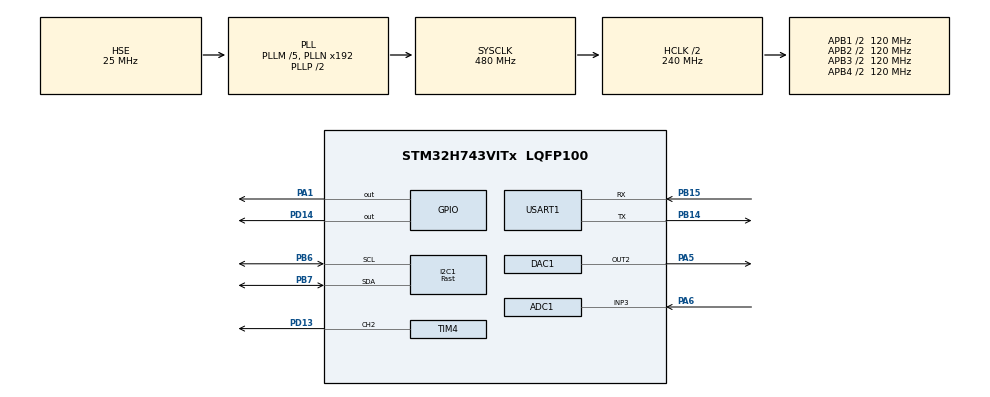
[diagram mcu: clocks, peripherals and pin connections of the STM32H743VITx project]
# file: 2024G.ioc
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ADC1.Channel-0\#ChannelRegularConversion=ADC_CHANNEL_3
ADC1.ConversionDataManagement=ADC_CONVERSIONDATA_DMA_CIRCULAR
ADC1.ExternalTrigConv=ADC_EXTERNALTRIG_T15_TRGO
ADC1.NbrOfConversion=1
ADC1.NbrOfConversionFlag=1
ADC1.OffsetNumber-0\#ChannelRegularConversion=ADC_OFFSET_NONE
ADC1.OffsetSignedSaturation-0\#ChannelRegularConversion=DISABLE
ADC1.Rank-0\#ChannelRegularConversion=1
ADC1.SamplingTime-0\#ChannelRegularConversion=ADC_SAMPLETIME_8CYCLES_5
ADC1.master=1
CORTEX_M7.AccessPermission-Cortex_Memory_Protection_Unit_Region0_Settings=MPU_REGION_FULL_ACCESS
CORTEX_M7.AccessPermission-Cortex_Memory_Protection_Unit_Region1_Settings=MPU_REGION_FULL_ACCESS
CORTEX_M7.AccessPermission-Cortex_Memory_Protection_Unit_Region2_Settings=MPU_REGION_FULL_ACCESS
CORTEX_M7.AccessPermission-Cortex_Memory_Protection_Unit_Region3_Settings=MPU_REGION_FULL_ACCESS
CORTEX_M7.AccessPermission-Cortex_Memory_Protection_Unit_Region4_Settings=MPU_REGION_FULL_ACCESS
CORTEX_M7.AccessPermission_S-Cortex_Memory_Protection_Unit_Region1_Settings_S=MPU_REGION_FULL_ACCESS
CORTEX_M7.AccessPermission_S-Cortex_Memory_Protection_Unit_Region2_Settings_S=MPU_REGION_FULL_ACCESS
CORTEX_M7.AccessPermission_Spec=MPU_REGION_FULL_ACCESS
CORTEX_M7.BaseAddress-Cortex_Memory_Protection_Unit_Region0_Settings=0x24000000
CORTEX_M7.BaseAddress-Cortex_Memory_Protection_Unit_Region1_Settings=0x30000000
CORTEX_M7.BaseAddress-Cortex_Memory_Protection_Unit_Region2_Settings=0x30020000
CORTEX_M7.BaseAddress-Cortex_Memory_Protection_Unit_Region3_Settings=0x30040000
CORTEX_M7.BaseAddress-Cortex_Memory_Protection_Unit_Region4_Settings=0x38000000
CORTEX_M7.BaseAddress_S-Cortex_Memory_Protection_Unit_Region1_Settings_S=0x30000000
CORTEX_M7.BaseAddress_S-Cortex_Memory_Protection_Unit_Region2_Settings_S=0x30020000
CORTEX_M7.BaseAddress_Spec=0x24000000
CORTEX_M7.CPU_DCache=Enabled
CORTEX_M7.CPU_ICache=Enabled
CORTEX_M7.DisableExec_S-Cortex_Memory_Protection_Unit_Region1_Settings_S=MPU_INSTRUCTION_ACCESS_ENABLE
CORTEX_M7.DisableExec_S-Cortex_Memory_Protection_Unit_Region2_Settings_S=MPU_INSTRUCTION_ACCESS_ENABLE
CORTEX_M7.DisableExec_Spec=MPU_INSTRUCTION_ACCESS_ENABLE
CORTEX_M7.Enable-Cortex_Memory_Protection_Unit_Region0_Settings=MPU_REGION_ENABLE
CORTEX_M7.Enable-Cortex_Memory_Protection_Unit_Region1_Settings=MPU_REGION_ENABLE
CORTEX_M7.Enable-Cortex_Memory_Protection_Unit_Region2_Settings=MPU_REGION_ENABLE
CORTEX_M7.Enable-Cortex_Memory_Protection_Unit_Region3_Settings=MPU_REGION_ENABLE
CORTEX_M7.Enable-Cortex_Memory_Protection_Unit_Region4_Settings=MPU_REGION_ENABLE
CORTEX_M7.Enable_S-Cortex_Memory_Protection_Unit_Region1_Settings_S=MPU_REGION_ENABLE
CORTEX_M7.Enable_S-Cortex_Memory_Protection_Unit_Region2_Settings_S=MPU_REGION_ENABLE
CORTEX_M7.IsBufferable-Cortex_Memory_Protection_Unit_Region0_Settings=MPU_ACCESS_BUFFERABLE
CORTEX_M7.IsBufferable_S-Cortex_Memory_Protection_Unit_Region1_Settings_S=MPU_ACCESS_NOT_BUFFERABLE
CORTEX_M7.IsBufferable_Spec=MPU_ACCESS_BUFFERABLE
CORTEX_M7.IsCacheable-Cortex_Memory_Protection_Unit_Region0_Settings=MPU_ACCESS_CACHEABLE
CORTEX_M7.IsCacheable_S-Cortex_Memory_Protection_Unit_Region1_Settings_S=MPU_ACCESS_NOT_CACHEABLE
CORTEX_M7.IsCacheable_Spec=MPU_ACCESS_CACHEABLE
CORTEX_M7.IsShareable_Spec=MPU_ACCESS_NOT_SHAREABLE
CORTEX_M7.MPU_Control=MPU_PRIVILEGED_DEFAULT
CORTEX_M7.Size-Cortex_Memory_Protection_Unit_Region0_Settings=MPU_REGION_SIZE_512KB
CORTEX_M7.Size-Cortex_Memory_Protection_Unit_Region1_Settings=MPU_REGION_SIZE_128KB
CORTEX_M7.Size-Cortex_Memory_Protection_Unit_Region2_Settings=MPU_REGION_SIZE_128KB
CORTEX_M7.Size-Cortex_Memory_Protection_Unit_Region3_Settings=MPU_REGION_SIZE_32KB
CORTEX_M7.Size-Cortex_Memory_Protection_Unit_Region4_Settings=MPU_REGION_SIZE_64KB
CORTEX_M7.Size_S-Cortex_Memory_Protection_Unit_Region1_Settings_S=MPU_REGION_SIZE_128KB
CORTEX_M7.Size_S-Cortex_Memory_Protection_Unit_Region2_Settings_S=MPU_REGION_SIZE_128KB
CORTEX_M7.Size_Spec=MPU_REGION_SIZE_512KB
CORTEX_M7.SubRegionDisable_Spec=0x0
CORTEX_M7.TypeExtField-Cortex_Memory_Protection_Unit_Region0_Settings=MPU_TEX_LEVEL1
CORTEX_M7.TypeExtField-Cortex_Memory_Protection_Unit_Region1_Settings=MPU_TEX_LEVEL1
CORTEX_M7.TypeExtField-Cortex_Memory_Protection_Unit_Region2_Settings=MPU_TEX_LEVEL1
CORTEX_M7.TypeExtField-Cortex_Memory_Protection_Unit_Region3_Settings=MPU_TEX_LEVEL1
CORTEX_M7.TypeExtField-Cortex_Memory_Protection_Unit_Region4_Settings=MPU_TEX_LEVEL1
CORTEX_M7.TypeExtField_S-Cortex_Memory_Protection_Unit_Region1_Settings_S=MPU_TEX_LEVEL1
CORTEX_M7.TypeExtField_S-Cortex_Memory_Protection_Unit_Region2_Settings_S=MPU_TEX_LEVEL1
CORTEX_M7.TypeExtField_Spec=MPU_TEX_LEVEL1
DAC1.DAC2_OutputBuffer-DAC_OUT2=DAC_OUTPUTBUFFER_DISABLE
DAC1.DAC_Channel-DAC_OUT2=DAC_CHANNEL_2
DAC1.DAC_Trigger-DAC_OUT2=DAC_TRIGGER_SOFTWARE
Dma.ADC1.1.Direction=DMA_PERIPH_TO_MEMORY
Dma.ADC1.1.EventEnable=DISABLE
Dma.ADC1.1.FIFOMode=DMA_FIFOMODE_DISABLE
Dma.ADC1.1.Instance=DMA1_Stream0
Dma.ADC1.1.MemDataAlignment=DMA_MDATAALIGN_HALFWORD
Dma.ADC1.1.MemInc=DMA_MINC_ENABLE
Dma.ADC1.1.Mode=DMA_NORMAL
Dma.ADC1.1.PeriphDataAlignment=DMA_PDATAALIGN_HALFWORD
Dma.ADC1.1.PeriphInc=DMA_PINC_DISABLE
Dma.ADC1.1.Polarity=HAL_DMAMUX_REQ_GEN_RISING
Dma.ADC1.1.Priority=DMA_PRIORITY_HIGH
Dma.ADC1.1.RequestNumber=1
Dma.ADC1.1.SignalID=NONE
Dma.ADC1.1.SyncEnable=DISABLE
Dma.ADC1.1.SyncPolarity=HAL_DMAMUX_SYNC_NO_EVENT
Dma.ADC1.1.SyncRequestNumber=1
Dma.ADC1.1.SyncSignalID=NONE
Dma.DAC1_CH2.0.Direction=DMA_MEMORY_TO_PERIPH
Dma.DAC1_CH2.0.EventEnable=DISABLE
Dma.DAC1_CH2.0.FIFOMode=DMA_FIFOMODE_DISABLE
Dma.DAC1_CH2.0.Instance=DMA1_Stream1
Dma.DAC1_CH2.0.MemDataAlignment=DMA_MDATAALIGN_HALFWORD
Dma.DAC1_CH2.0.MemInc=DMA_MINC_ENABLE
Dma.DAC1_CH2.0.Mode=DMA_CIRCULAR
Dma.DAC1_CH2.0.PeriphDataAlignment=DMA_PDATAALIGN_HALFWORD
Dma.DAC1_CH2.0.PeriphInc=DMA_PINC_DISABLE
Dma.DAC1_CH2.0.Polarity=HAL_DMAMUX_REQ_GEN_RISING
Dma.DAC1_CH2.0.Priority=DMA_PRIORITY_LOW
Dma.DAC1_CH2.0.RequestNumber=1
Dma.DAC1_CH2.0.SignalID=NONE
Dma.DAC1_CH2.0.SyncEnable=DISABLE
Dma.DAC1_CH2.0.SyncPolarity=HAL_DMAMUX_SYNC_NO_EVENT
Dma.DAC1_CH2.0.SyncRequestNumber=1
Dma.DAC1_CH2.0.SyncSignalID=NONE
Dma.Request0=DAC1_CH2
Dma.Request1=ADC1
I2C1.I2C_Speed_Mode=I2C_Fast
I2C1.Timing=0x00B03FDB
Mcu.Family=STM32H7
Mcu.Name=STM32H743VITx
Mcu.Package=LQFP100
NVIC.DMA1_Stream0_IRQn=true\:1\:0\:true\:false\:true\:false\:true\:true
NVIC.DMA1_Stream1_IRQn=true\:1\:0\:true\:false\:true\:false\:true\:true
NVIC.PriorityGroup=NVIC_PRIORITYGROUP_4
NVIC.TIM5_IRQn=true\:1\:0\:true\:false\:true\:true\:true\:true
NVIC.USART1_IRQn=true\:2\:0\:true\:false\:true\:true\:true\:true
PA1.Signal=GPIO_Output
PA13\ (JTMS/SWDIO).Mode=Serial_Wire
PA13\ (JTMS/SWDIO).Signal=DEBUG_JTMS-SWDIO
PA14\ (JTCK/SWCLK).Mode=Serial_Wire
PA14\ (JTCK/SWCLK).Signal=DEBUG_JTCK-SWCLK
PA5.Signal=COMP_DAC12_group
PA6.Signal=ADCx_INP3
PB14.Mode=Asynchronous
PB14.Signal=USART1_TX
PB15.Mode=Asynchronous
PB15.Signal=USART1_RX
PB6.Mode=I2C
PB6.Signal=I2C1_SCL
PB7.Mode=I2C
PB7.Signal=I2C1_SDA
PD13.Signal=S_TIM4_CH2
PD14.Signal=GPIO_Output
PH0-OSC_IN\ (PH0).Mode=HSE-External-Oscillator
PH0-OSC_IN\ (PH0).Signal=RCC_OSC_IN
PH1-OSC_OUT\ (PH1).Mode=HSE-External-Oscillator
PH1-OSC_OUT\ (PH1).Signal=RCC_OSC_OUT
ProjectManager.HeapSize=0x3000
ProjectManager.StackSize=0x1000
ProjectManager.TargetToolchain=STM32CubeIDE
RCC.ADCFreq_Value=100000000
RCC.APB1Freq_Value=120000000
RCC.APB2Freq_Value=120000000
RCC.APB3Freq_Value=120000000
RCC.APB4Freq_Value=120000000
RCC.CortexFreq_Value=480000000
RCC.D1PPRE=RCC_APB3_DIV2
RCC.D2PPRE1=RCC_APB1_DIV2
RCC.D2PPRE2=RCC_APB2_DIV2
RCC.D3PPRE=RCC_APB4_DIV2
RCC.DIVM1=5
RCC.DIVM2=25
RCC.DIVN1=192
RCC.DIVN2=200
RCC.HCLKFreq_Value=240000000
RCC.HPRE=RCC_HCLK_DIV2
RCC.HSE_Timout=5000
RCC.PLLSourceVirtual=RCC_PLLSOURCE_HSE
RCC.ProductRev=revV
RCC.SYSCLKFreq_VALUE=480000000
RCC.SYSCLKSource=RCC_SYSCLKSOURCE_PLLCLK
RCC.USBFreq_Value=480000000
SH.ADCx_INP3.0=ADC1_INP3,IN3-Single-Ended
SH.COMP_DAC12_group.0=DAC1_OUT2,DAC_OUT2
SH.S_TIM4_CH2.0=TIM4_CH2,PWM Generation2 CH2
TIM15.AutoReloadPreload=TIM_AUTORELOAD_PRELOAD_ENABLE
TIM15.ClockDivision=TIM_CLOCKDIVISION_DIV1
TIM15.Period=200-1
TIM15.Prescaler=50-1
TIM15.TIM_MasterOutputTrigger=TIM_TRGO_UPDATE
TIM4.AutoReloadPreload=TIM_AUTORELOAD_PRELOAD_ENABLE
TIM4.Channel-PWM\ Generation2\ CH2=TIM_CHANNEL_2
TIM4.Period=10000-1
TIM4.Prescaler=240-1
TIM5.Period=5000-1
TIM5.Prescaler=240-1
TIM7.Prescaler=239
USART1.VirtualMode-Asynchronous=VM_ASYNC
VP_TIM15_VS_ClockSourceINT.Mode=Internal
VP_TIM5_VS_ClockSourceINT.Mode=Internal
VP_TIM7_VS_ClockSourceINT.Mode=Enable_Timer
board=custom

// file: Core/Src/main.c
/* USER CODE BEGIN Header */
/**
  ******************************************************************************
  * @file           : main.c
  * @brief          : Main program body
  ******************************************************************************
  * @attention
  *
  * Copyright (c) 2024 STMicroelectronics.
  * All rights reserved.
  *
  * This software is licensed under terms that can be found in the LICENSE file
  * in the root directory of this software component.
  * If no LICENSE file comes with this software, it is provided AS-IS.
  *
  ******************************************************************************
  */
/* USER CODE END Header */
#include "main.h"
#include "adc.h"
#include "dac.h"
#include "dma.h"
#include "i2c.h"
#include "tim.h"
#include "usart.h"
#include "gpio.h"

/* USER CODE BEGIN Includes */
#include <stdio.h>
#include <stdlib.h>
#include <complex.h>
#include <string.h>
#include "signal.h"
#include "oled.h"
#include "FO.h"
#include <string.h>
#include <math.h>
#include "SSM.h"

/* USER CODE END Includes */

/* USER CODE BEGIN PTD */

ALIGN_32BYTES (uint16_t adc1_data[FO_LENGTH_HIGH]) 	__attribute__((section(".ARM.__at_0x30000000")));
ALIGN_32BYTES (uint16_t adc1_music_data[FO_LENGTH_MIDDLE]) 	__attribute__((section(".ARM.__at_0x30080000")));

__IO uint8_t AdcConvEnd = 0;

int max_index[2] = {0 ,0}  ,min_index[3] = {0,0 , 0};
double max[5] = {-1,-1 ,-1 ,-1 ,-1 };
char str_2[50];
double * X ;
double *Y;
double P[FO_LENGTH_HIGH*4 +100];
double *p;
double voltage;
double v[FO_LENGTH_HIGH + 100];
double SP[FO_LENGTH_HIGH*8 + 100];
int i = 0;
int flag = 0;
int count =0 ;
int music = 0;
int state = 0 ;
double Spec[60] ;
int hold_on  =0;
double rate = 0;
double aaa;

char c = '9';

int hold_music = 0;
int hold_voice = 0;
int hold_weak = 0;
int human_killed = 0;
int music_killed = 0;
int f = 0;
int kill_human = 0;
int kill_music = 0;

uint8_t CNT=0;

void PWM_Output(int frequency , double r)
{
	rate = r;
	HAL_TIM_PWM_Start(&htim4,TIM_CHANNEL_2);
	//WRITE_REG(TIM4->CCR1,(TIM4->ARR+1)*rate);
	__HAL_TIM_SetCompare(&htim4,TIM_CHANNEL_2,(TIM4->ARR+1)*rate);
	TIM4->ARR=1000000/frequency-1;
	TIM4->CR1 &= ~TIM_CR1_ARPE;
}

void adc_init(void)
{
//	HAL_UART_Transmit(&huart1,(uint8_t *)"start_adc\n",sizeof("start_adc\n"),HAL_MAX_DELAY);
	MX_ADC1_Init();
	HAL_Delay(1);
	if (HAL_ADCEx_Calibration_Start(&hadc1, ADC_CALIB_OFFSET, ADC_SINGLE_ENDED) != HAL_OK)
	{
		HAL_UART_Transmit(&huart1,(uint8_t *)"hadc1 error with HAL_ADCEx_Calibration_Start\r\n",
				sizeof("hadc1 error with HAL_ADCEx_Calibration_Start\r\n"),HAL_MAX_DELAY);
			Error_Handler();
	}

	if (HAL_ADC_Start_DMA(&hadc1, (uint32_t *)adc1_data, FO_LENGTH_HIGH) != HAL_OK)
	{
		HAL_UART_Transmit(&huart1,(uint8_t *)"hadc1 error with HAL_ADC_Start_DMA\r\n",
				sizeof("hadc1 error with HAL_ADC_Start_DMA\r\n"),HAL_MAX_DELAY);
			Error_Handler();
	}

	HAL_TIM_Base_Start(&htim15);
	while (!AdcConvEnd);
	AdcConvEnd = 0;
	HAL_ADC_DeInit(&hadc1);
	HAL_TIM_Base_Stop(&htim15);
}

void adc_music_init(void)
{
//	HAL_UART_Transmit(&huart1,(uint8_t *)"start_adc\n",sizeof("start_adc\n"),HAL_MAX_DELAY);
	MX_ADC1_Init();
	HAL_Delay(1);
	if (HAL_ADCEx_Calibration_Start(&hadc1, ADC_CALIB_OFFSET, ADC_SINGLE_ENDED) != HAL_OK)
	{
		HAL_UART_Transmit(&huart1,(uint8_t *)"hadc1 error with HAL_ADCEx_Calibration_Start\r\n",
				sizeof("hadc1 error with HAL_ADCEx_Calibration_Start\r\n"),HAL_MAX_DELAY);
			Error_Handler();
	}

	if (HAL_ADC_Start_DMA(&hadc1, (uint32_t *)adc1_music_data, FO_LENGTH_MIDDLE) != HAL_OK)
	{
		HAL_UART_Transmit(&huart1,(uint8_t *)"hadc1 error with HAL_ADC_Start_DMA\r\n",
				sizeof("hadc1 error with HAL_ADC_Start_DMA\r\n"),HAL_MAX_DELAY);
			Error_Handler();
	}

	HAL_TIM_Base_Start(&htim15);
	while (!AdcConvEnd);
	AdcConvEnd = 0;
	HAL_ADC_DeInit(&hadc1);
	HAL_TIM_Base_Stop(&htim15);
}

void Para_Init(void)
{

	 hold_music = 0;
	 hold_voice = 0;
	 hold_weak = 0;
//	 human_killed = 0;
//	 music_killed = 0;

	for (i = 0 ; i < 4 ; i ++)
		  {
			  max[i] = 0;
			  max_index[i] = 0;

		  }
	for ( i = 0 ; i < FO_LENGTH_HIGH*2 ; i++)
		  {
				  P[i] = 0;
				 // p[i] = 0;
		  }
		  count = 0;
		  hold_on=0;
}

void ADC1_Get(void)
{

		adc_init();

		  for (uint16_t temp = 0; temp< FO_LENGTH_HIGH;temp++)
		  	    {
		  	    	  voltage = ((double)adc1_data[temp]*3.3)/65535 *3 ;

		  	    	  v[temp] = voltage ;
//		  	    	if (fabs(v[temp] - 4.95) > max[4])
//		  	    	{
//		  	    		max[4] =v[temp] - 4.95;
//		  	    	}
		  	    	 // v[temp ] = 0;
//		  	    	  if (fabs(v[temp] - 4.7) > 2.0 )
//		  	    	  {
//		  	    		  sprintf(str_2 , "%.5f" , v[temp]);
//		  	    		  HAL_UART_Transmit(&huart1,(uint8_t *)str_2 , 7   ,HAL_MAX_DELAY);
//		  	    		  HAL_UART_Transmit(&huart1 ,(uint8_t *)"\n", 1 , HAL_MAX_DELAY);
//		  	    		  count++;
//		  	    	  }
		  	    }
}

void ADC1_Get_Music(void)
{
	  __HAL_TIM_SET_AUTORELOAD(&htim15, 500 -1);
	  TIM15->ARR = 500 - 1;
	  TIM15->CR1 &= ~TIM_CR1_ARPE;
		adc_music_init();

		  for (uint16_t temp = 0; temp< FO_LENGTH_MIDDLE;temp++)
		  	    {
		  	    	  voltage = ((double)adc1_music_data[temp]*3.3)/65535 *3 ;

		  	    	  SP[temp] = voltage - 4.95;
//		  	    	  SP[temp*2 + 1] = 0.0 - voltage;
		  	    	 // v[temp ] = 0;x
//		  	    	  if (fabs(v[temp] - 4.7) > 2.0 )
//		  	    	  {
//		  	    		  sprintf(str_2 , "%.5f" , SP[temp]);
//		  	    		  HAL_UART_Transmit(&huart1,(uint8_t *)str_2 , 7   ,HAL_MAX_DELAY);
//		  	    		  HAL_UART_Transmit(&huart1 ,(uint8_t *)"\n", 1 , HAL_MAX_DELAY);
//		  	    		  count++;
//		  	    	  }
		  	    }
//		  for (uint16_t temp = 0; temp< 400;temp++)
//		  {
//			  SP[temp + FO_LENGTH_MIDDLE]  = 0;
//		  }
}

void Input_Simulate(void)
{
	for (int k = 0 ; k < 256 ; k++)
	{
		for (i =0; i < 16 ; i++)
		{
			v[i+32*k] = sin(2*M_PI*i/16) + 1.5;
		}
		for (i =0; i < 16 ; i++)
		{
			v[i+32*k + 16] = sin(2*M_PI*i/16) + 1.5;
		}
	}
	  for (uint16_t temp = 0; temp< FO_LENGTH_HIGH;temp++)
	  	    {
//		  	    sprintf(str_2 , "%.5f" , v[temp]);
//		  	    HAL_UART_Transmit(&huart1,(uint8_t *)str_2 , 7   ,HAL_MAX_DELAY);
//		  	    HAL_UART_Transmit(&huart1 ,(uint8_t *)"\n", 1 , HAL_MAX_DELAY);
	  	    }
}

void HandleFFT(void)
{
			  	  for (i = 1 ; i <= 1; i++)
			  	  {
			  		  if (flag == 1)
			  		  {
			  			X= Blackman(FO_LENGTH_HIGH ,(max_index[1]-max_index[1]/2),(max_index[1]+max_index[1]/2), v);
			  		  }
			  		  else
			  		  {
			  			  X = v;
			  		  }

			  		  p = FFT_Mag(FO_LENGTH_HIGH , X);
			  		  for (int j = 0 ; j  <FO_LENGTH_HIGH/2 ; j++)
			  		  {
			  			  P[j]=p[j] * 5;
			  		  }
			  	  }
}

void PrintMag(void)
{
	 for (i = 0 ; i < FO_LENGTH_HIGH/2 ; i++)
	 {

//		 sprintf(str_2 , "%.5lf" , (P[i]));
//		 HAL_UART_Transmit(&huart1,(uint8_t *)str_2 , 7   ,HAL_MAX_DELAY);
//		 HAL_UART_Transmit(&huart1 ,(uint8_t *)"\n", 1 , HAL_MAX_DELAY);
		 if (i > 10 && i < 1000)
		 {
			 if ( (P[i] > 2 ||hold_on >=1 )  )
		 	 {
				 HAL_GPIO_WritePin(GPIOA , GPIO_PIN_1 , GPIO_PIN_RESET);
				 hold_on = 1;
		 	 }
			 else if (hold_on ==0)
			 {
				 hold_on  =0 ;
				 HAL_GPIO_WritePin(GPIOA , GPIO_PIN_1 , GPIO_PIN_SET);
			 }
		 }
	 }
	 max[4] = 0;
	 if (hold_on)USART1PutString("t4.txt=\"Get Sound!\"\xff\xff\xff");
	 else {USART1PutString("t4.txt=\"Weak Sound!\"\xff\xff\xff");}
}

void ASK_Output(int fre)
{
	setFre(fre);
	HAL_TIM_Base_Start_IT(&htim5);
}

void Music_Init(void)
{
	i = 0;
	for (double j = 0 ; j < 60 ; j+=1)
	{
		Spec[i] =261.63 * pow(2.0 ,j/12);
					i++;
	}
	__HAL_TIM_SET_AUTORELOAD(&htim15, 1000-1 );
		TIM15->ARR =  1000-1;
		htim5.Init.Period = 1000-1;
		TIM15->CR1 &= ~TIM_CR1_ARPE;
	i= 0 ;
	max[0] = 0;
	max[1] = 0;
	max[2] = 0;
}

void Is_Music(void)
{
	int c = 0;
		Para_Init();
		for (int j = 0 ; j < 8; j++)
		{
			ADC1_Get();
			for (int k = 0 ; k < FO_LENGTH_HIGH; k++)
			{
				SP[j*FO_LENGTH_HIGH + k] = v[k];
			}

		}
		double step = 1198.0/1024.0;
		for (int w = 0 ; w < 30 ; w+=2)
		{
			X=Hamming(FO_LENGTH_HIGH*4 ,(Spec[w]-Spec[w]/2)/step,(Spec[w]+Spec[w]/2)/step ,0.468 ,SP);
			p = FFT_Mag(FO_LENGTH_HIGH*4 , X);
			for (i = 0 ; i < FO_LENGTH_HIGH*2; i++)
			{
				P[i] += p[i];
			}
		}
		for (int l = 0 ; l < FO_LENGTH_HIGH*2 ; l++)
		{
			if (max[1] < P[l] && l > 30 && l < 2000)
			{
				max[1] = P[l];
				max_index[1] = l;
			}
			sprintf(str_2 , "%.5lf" , (P[l]));
			HAL_UART_Transmit(&huart1,(uint8_t *)str_2 , 7   ,HAL_MAX_DELAY);
			HAL_UART_Transmit(&huart1 ,(uint8_t *)"\n", 1 , HAL_MAX_DELAY);
		}
		for (int w = 0 ; w < 30 ; w++)
		{
			int index = (int)(Spec[w]/step + 0.5);
			double max_reg = -1;
			for (int dex = index -1 ; dex < index+2 ;dex++)
			{
				if (P[dex] > max_reg)
				{
					max_reg = P[dex];
				}
			}
			if (max_reg > max[1]/2 && max_reg > 1000)
			{
				c++;
			}
		}
		if (c > 0 )
		{
			HAL_UART_Transmit(&huart1 ,(uint8_t *)"Music!\n", 7 , HAL_MAX_DELAY);
		}
		else
		{
			HAL_UART_Transmit(&huart1 ,(uint8_t *)"Not Music!\n", 11 , HAL_MAX_DELAY);
		}
}
void Is_Music_OZWithInit(void )
{
	ADC1_Get_Music();
	for ( i = 0 ; i < FO_LENGTH_MIDDLE ; i++)
	{
		if (fabs(SP[i]) > max[4])
		{
			max[4] = SP[i];
		}
	}
	if (max[4] < 1.0 )
	{
		hold_weak++;
		hold_weak%=3;
		if(hold_weak ==1){
			USART1PutString("t4.txt=\"Weak Sound!\"\xff\xff\xff");

			HAL_GPIO_WritePin(GPIOA , GPIO_PIN_1 , GPIO_PIN_SET);
		}
		max[4] = -1;
		return ;
	}
	HAL_GPIO_WritePin(GPIOA , GPIO_PIN_1 , GPIO_PIN_RESET);
	for (i= 0 ; i < FO_LENGTH_MIDDLE ; i++)
	{
		SP[i]/=max[4] /10;
//		  sprintf(str_2 , "%.5f" , SP[i]);
//		  HAL_UART_Transmit(&huart1,(uint8_t *)str_2 , 7   ,HAL_MAX_DELAY);
//		  HAL_UART_Transmit(&huart1 ,(uint8_t *)"\n", 1 , HAL_MAX_DELAY);
	}
	max[4] = 0;
	double r1 = 0.5;
	double r2 = 0.2 ;
	int a1 = OverOZ_Num_Get(r1 , FO_LENGTH_MIDDLE, SP);
	int a2 = 0;
	max[1] = 0;
	p =FFT_Mag_sqrt(FO_LENGTH_MIDDLE ,SP );
	for (int l = 0 ; l < FO_LENGTH_MIDDLE/2 ; l++)
			{
				if (max[1] < p[l] && l > 10 && l < 4000)
				{
					max[1] = p[l];
					//max_index[1] = l;
				}
//				sprintf(str_2 , "%.5lf" , p[l]);
//				HAL_UART_Transmit(&huart1,(uint8_t *)str_2 , 7   ,HAL_MAX_DELAY);
//				HAL_UART_Transmit(&huart1 ,(uint8_t *)"\n", 1 , HAL_MAX_DELAY);
			}

	for (i = 0 ; i < FO_LENGTH_MIDDLE/2 ; i++)
	{
		if (p[i] > r2 * max[1])a2++;
	}

//	sprintf(str_2 , "%d" , a1);
//	HAL_UART_Transmit(&huart1,(uint8_t *)str_2 , 3   ,HAL_MAX_DELAY);
//	HAL_UART_Transmit(&huart1 ,(uint8_t *)"\n", 1 , HAL_MAX_DELAY);
//	sprintf(str_2 , "%d" , a2);
//	HAL_UART_Transmit(&huart1,(uint8_t *)str_2 , 4   ,HAL_MAX_DELAY);
//	HAL_UART_Transmit(&huart1 ,(uint8_t *)"\n", 1 , HAL_MAX_DELAY);
//	sprintf(str_2 , "%d" , 2);
	if ( a1 >90 || a2 < 50)
	{
		if (hold_music < 3)hold_music ++;
		hold_voice = ((hold_music >=2)?(5):(0));
	}
	if (a1 < 90  )
	{
		if (hold_music >=3){hold_voice--; }
		hold_music = 0;
	}
//	HAL_TIM_PWM_Stop(&htim4 , TIM_CHANNEL_2);
	if (hold_music >= 3 || hold_voice >= 5)
	{
		if (c == '7')
		{
			USART1PutString("t4.txt=\"Music Killed!\"\xff\xff\xff");
			kill_human = 0;
			kill_music ++;
			if(kill_music > 2)PWM_Output(40000 , 0.2);
			return ;
		}
		kill_music = 0;
		kill_human = 0;
		USART1PutString("t4.txt=\"Music!\"\xff\xff\xff");
		HAL_TIM_PWM_Stop(&htim4 , TIM_CHANNEL_2);
	}
	else
	{
		if (c == '6')
			{
			USART1PutString("t4.txt=\"Human Sound Killed\"\xff\xff\xff");
			kill_human++;
			kill_music = 0;
			if(kill_human > 2)PWM_Output(40000 , 0.2);
				return ;

			}
		kill_music = 0;
		kill_human = 0;
		USART1PutString("t4.txt=\"Human Sound!\"\xff\xff\xff");
		HAL_TIM_PWM_Stop(&htim4 , TIM_CHANNEL_2);
	}
//	HAL_Delay(10);
}

void ADC_FFT(void)
{
	flag = 0;
	Para_Init();
	ADC1_Get();
	//Input_Simulate();
	HandleFFT();
	PrintMag();
	if (c == '6' ||  c == '7'){f =1;}
	else {f = 0;}
	if (c == '1' || c == '0'){HAL_TIM_PWM_Stop(&htim4 , TIM_CHANNEL_2);}
}

//void PWM_Output(int frequency , double r)
//{
//	rate = r;
//	HAL_TIM_PWM_Start(&htim4,TIM_CHANNEL_2);
//	//WRITE_REG(TIM4->CCR1,(TIM4->ARR+1)*rate);
//	__HAL_TIM_SetCompare(&htim4,TIM_CHANNEL_2,(TIM4->ARR+1)*rate);
//	TIM4->ARR=1000000/frequency-1;
//	TIM4->CR1 &= ~TIM_CR1_ARPE;
//}

/* USER CODE END PTD */

void SystemClock_Config(void);
static void MPU_Config(void);

int main(void)
{

  /* MPU Configuration--------------------------------------------------------*/
  MPU_Config();

  /* Enable I-Cache---------------------------------------------------------*/
  SCB_EnableICache();

  /* Enable D-Cache---------------------------------------------------------*/
  SCB_EnableDCache();

  /* MCU Configuration--------------------------------------------------------*/

  /* Reset of all peripherals, Initializes the Flash interface and the Systick. */
  HAL_Init();

  /* Configure the system clock */
  SystemClock_Config();

  /* Initialize all configured peripherals */
  MX_GPIO_Init();
  MX_DMA_Init();
  MX_TIM7_Init();
  MX_USART1_UART_Init();
  MX_I2C1_Init();
  MX_TIM15_Init();
  MX_DAC1_Init();
  MX_ADC1_Init();
  MX_TIM5_Init();
  MX_TIM4_Init();
  /* USER CODE BEGIN 2 */
  Music_Init();
  Para_Init();
  //adc_init();
//  ADC1_Get();
  ASK_Output(1000);
//  PWM_Output(1000 , 0.2);
  //Is_Music();
  //ADC1_Get();
  HAL_GPIO_WritePin(GPIOA , GPIO_PIN_1 , GPIO_PIN_SET);
//  __HAL_UART_ENABLE_IT(&huart1,UART_IT_IDLE);
  HAL_UART_Receive_IT(&huart1, (uint8_t*)&c,1);
//  PWM_Output();
//  for ( i = 0 ; i < 100; i++)
//  {
//	  ADC_FFT();
//	 HAL_UART_Transmi t(&huart1 ,(uint8_t *)"ok\n", 3 , HAL_MAX_DELAY);
//  }
  //ADC_FFT();
  /* USER CODE END 2 */
  /* Infinite loop */
  /* USER CODE BEGIN WHILE */
  while (1)
  {

//	  ADC1_Get_Music();
//	  Para_Init();
	  //ADC_FFT();
//	  PWM_Output(1000 , 0.2);
//	  Is_Music_OZWithInit();
//	  PWM_Output(20000 , 0.2);
	  //ADC_FFT();
//	  PWM_Output(40000 , 0.92);
	  if (f==0){ADC_FFT();}
	  else {Is_Music_OZWithInit();}
	  switch('c')
	  {
	  	case '0':
	  		HAL_TIM_PWM_Stop(&htim4 , TIM_CHANNEL_2);
//	  		ADC_FFT();
	  			  	 f= 0;
	  		break;
	  	case '1':
//	  		ADC_FFT();
	  		HAL_TIM_PWM_Stop(&htim4 , TIM_CHANNEL_2);
	  			  	 f=0;
	  		break;
	  	case '2':
//	  		ADC_FFT();
	  		PWM_Output(40000 , aaa);
	  			  	 f=0;
	  		break;
	  	case '3':
	  		PWM_Output(40000 , aaa);
//	  		ADC_FFT();
	  			  	 f=0;
	  		break;
	  	case '4':
	  		PWM_Output(40000 , aaa);
//	  		ADC_FFT();
	  			  	 f=0;
	  		break;
	  	case '5':
	  		PWM_Output(40000 , aaa);
//	  		ADC_FFT();
	  			  	 f=0;
	  		break;
	  	case '6':
	  		human_killed = 1;
	  		music_killed = 0;
	  		if (kill_human > 2){PWM_Output(40000 , 0.2);}
	  		else {HAL_TIM_PWM_Stop(&htim4,TIM_CHANNEL_2);}
	  		f=1;
//	  		Is_Music_OZWithInit();
	  		break;
	  	case '7':
	  		human_killed = 0;
	  		music_killed = 1;
	  		if (kill_music > 2){PWM_Output(40000 , 0.2);}
	  		else {HAL_TIM_PWM_Stop(&htim4,TIM_CHANNEL_2);}
	  		f= 1;
//	  		Is_Music_OZWithInit();
	  		break;
	  	default:
	  }
	  //HAL_UART_Receive_IT(&huart1, (uint8_t*)&c,1);
	  //PWM_Output(1000 , 0.2);
	  //ADC_FFT();
//	  Para_Init();
//	  Music_Init();
//	  Is_Music();
//	  HAL_UART_Receive_IT(&huart1, (uint8_t*)&c,1);
	  //HAL_Delay(10);
    /* USER CODE END WHILE */

  }
}

void SystemClock_Config(void)
{
  RCC_OscInitTypeDef RCC_OscInitStruct = {0};
  RCC_ClkInitTypeDef RCC_ClkInitStruct = {0};

  /** Supply configuration update enable
  */
  HAL_PWREx_ConfigSupply(PWR_LDO_SUPPLY);

  /** Configure the main internal regulator output voltage
  */
  __HAL_PWR_VOLTAGESCALING_CONFIG(PWR_REGULATOR_VOLTAGE_SCALE1);

  while(!__HAL_PWR_GET_FLAG(PWR_FLAG_VOSRDY)) {}

  __HAL_RCC_SYSCFG_CLK_ENABLE();
  __HAL_PWR_VOLTAGESCALING_CONFIG(PWR_REGULATOR_VOLTAGE_SCALE0);

  while(!__HAL_PWR_GET_FLAG(PWR_FLAG_VOSRDY)) {}

  /** Macro to configure the PLL clock source
  */
  __HAL_RCC_PLL_PLLSOURCE_CONFIG(RCC_PLLSOURCE_HSE);

  /** Initializes the RCC Oscillators according to the specified parameters
  * in the RCC_OscInitTypeDef structure.
  */
  RCC_OscInitStruct.OscillatorType = RCC_OSCILLATORTYPE_HSE;
  RCC_OscInitStruct.HSEState = RCC_HSE_ON;
  RCC_OscInitStruct.PLL.PLLState = RCC_PLL_ON;
  RCC_OscInitStruct.PLL.PLLSource = RCC_PLLSOURCE_HSE;
  RCC_OscInitStruct.PLL.PLLM = 5;
  RCC_OscInitStruct.PLL.PLLN = 192;
  RCC_OscInitStruct.PLL.PLLP = 2;
  RCC_OscInitStruct.PLL.PLLQ = 2;
  RCC_OscInitStruct.PLL.PLLR = 2;
  RCC_OscInitStruct.PLL.PLLRGE = RCC_PLL1VCIRANGE_2;
  RCC_OscInitStruct.PLL.PLLVCOSEL = RCC_PLL1VCOWIDE;
  RCC_OscInitStruct.PLL.PLLFRACN = 0;
  if (HAL_RCC_OscConfig(&RCC_OscInitStruct) != HAL_OK)
  {
    Error_Handler();
  }

  /** Initializes the CPU, AHB and APB buses clocks
  */
  RCC_ClkInitStruct.ClockType = RCC_CLOCKTYPE_HCLK|RCC_CLOCKTYPE_SYSCLK
                              |RCC_CLOCKTYPE_PCLK1|RCC_CLOCKTYPE_PCLK2
                              |RCC_CLOCKTYPE_D3PCLK1|RCC_CLOCKTYPE_D1PCLK1;
  RCC_ClkInitStruct.SYSCLKSource = RCC_SYSCLKSOURCE_PLLCLK;
  RCC_ClkInitStruct.SYSCLKDivider = RCC_SYSCLK_DIV1;
  RCC_ClkInitStruct.AHBCLKDivider = RCC_HCLK_DIV2;
  RCC_ClkInitStruct.APB3CLKDivider = RCC_APB3_DIV2;
  RCC_ClkInitStruct.APB1CLKDivider = RCC_APB1_DIV2;
  RCC_ClkInitStruct.APB2CLKDivider = RCC_APB2_DIV2;
  RCC_ClkInitStruct.APB4CLKDivider = RCC_APB4_DIV2;

  if (HAL_RCC_ClockConfig(&RCC_ClkInitStruct, FLASH_LATENCY_4) != HAL_OK)
  {
    Error_Handler();
  }
}

/* USER CODE BEGIN 4 */

void HAL_ADC_ConvCpltCallback(ADC_HandleTypeDef* hadc)
{
   if(hadc->Instance == ADC1)
	{
      //SCB_InvalidateDCache_by_Addr((uint32_t *) &adc1_data[0], ADC1_BUFFER_SIZE);
   }
	 AdcConvEnd = 1;
}

void HAL_TIM_PeriodElapsedCallback(TIM_HandleTypeDef *htim)
{
    if(TIM5 == htim->Instance)
  {
        if(CNT)
    {
     HAL_GPIO_WritePin(GPIOD, GPIO_PIN_14, GPIO_PIN_RESET);
     CNT=0;
    }
    else
    {
     HAL_GPIO_WritePin(GPIOD, GPIO_PIN_14, GPIO_PIN_SET);
     CNT=1;

    }
  }
    if (TIM4 == htim->Instance)
    {
    	WRITE_REG(TIM4->CCR1,(TIM4->ARR+1)*rate);
    }
}

void HAL_UART_RxCpltCallback(UART_HandleTypeDef *huart)
{
    if(huart->Instance==USART1)
    {
        if(c=='0')
        {
        	f = 0;
        	aaa= 0.2;
        }
        if(c=='1')
        {
        	f = 0;
        	aaa=  0.2;
        }
         if(c=='2')
        {
        	 aaa+=0.1;
        		 PWM_Output(40000 , aaa);
        		 f = 0;

        }
        if(c=='3')
        {
        	aaa+=0.01;
        	     PWM_Output(40000 , aaa);
        	     f = 0;
        }
        if(c=='4')
        {
        	aaa-=0.1;
        		 PWM_Output(40000 , aaa);
        		 f = 0;
        }
        if(c=='5')
        {
        	aaa-=0.01;
        		PWM_Output(40000 , aaa);
        		f = 0;
        }
         if(c=='6')
        {
        	 human_killed=  1;
        	 music_killed = 0;
 	  		if (kill_human){PWM_Output(40000 , 0.2);}
 	  		else {HAL_TIM_PWM_Stop(&htim4,TIM_CHANNEL_2);}
        	 f= 1;
        }
        if(c=='7')
        {
        	human_killed=  1;
        	music_killed = 0;
        	f = 1;
	  		if (kill_music){PWM_Output(40000 , 0.2);}
	  		else {HAL_TIM_PWM_Stop(&htim4,TIM_CHANNEL_2);}
        }
        HAL_UART_Receive_IT(&huart1, (uint8_t*)&c,1);
    }

}

/* USER CODE END 4 */

/* MPU Configuration */

void MPU_Config(void)
{
  MPU_Region_InitTypeDef MPU_InitStruct = {0};

  /* Disables the MPU */
  HAL_MPU_Disable();

  /** Initializes and configures the Region and the memory to be protected
  */
  MPU_InitStruct.Enable = MPU_REGION_ENABLE;
  MPU_InitStruct.Number = MPU_REGION_NUMBER0;
  MPU_InitStruct.BaseAddress = 0x24000000;
  MPU_InitStruct.Size = MPU_REGION_SIZE_512KB;
  MPU_InitStruct.SubRegionDisable = 0x0;
  MPU_InitStruct.TypeExtField = MPU_TEX_LEVEL1;
  MPU_InitStruct.AccessPermission = MPU_REGION_FULL_ACCESS;
  MPU_InitStruct.DisableExec = MPU_INSTRUCTION_ACCESS_ENABLE;
  MPU_InitStruct.IsShareable = MPU_ACCESS_NOT_SHAREABLE;
  MPU_InitStruct.IsCacheable = MPU_ACCESS_CACHEABLE;
  MPU_InitStruct.IsBufferable = MPU_ACCESS_BUFFERABLE;

  HAL_MPU_ConfigRegion(&MPU_InitStruct);

  /** Initializes and configures the Region and the memory to be protected
  */
  MPU_InitStruct.Number = MPU_REGION_NUMBER1;
  MPU_InitStruct.BaseAddress = 0x30000000;
  MPU_InitStruct.Size = MPU_REGION_SIZE_128KB;
  MPU_InitStruct.IsCacheable = MPU_ACCESS_NOT_CACHEABLE;
  MPU_InitStruct.IsBufferable = MPU_ACCESS_NOT_BUFFERABLE;

  HAL_MPU_ConfigRegion(&MPU_InitStruct);

  /** Initializes and configures the Region and the memory to be protected
  */
  MPU_InitStruct.Number = MPU_REGION_NUMBER2;
  MPU_InitStruct.BaseAddress = 0x30020000;

  HAL_MPU_ConfigRegion(&MPU_InitStruct);

  /** Initializes and configures the Region and the memory to be protected
  */
  MPU_InitStruct.Number = MPU_REGION_NUMBER3;
  MPU_InitStruct.BaseAddress = 0x30040000;
  MPU_InitStruct.Size = MPU_REGION_SIZE_32KB;

  HAL_MPU_ConfigRegion(&MPU_InitStruct);

  /** Initializes and configures the Region and the memory to be protected
  */
  MPU_InitStruct.Number = MPU_REGION_NUMBER4;
  MPU_InitStruct.BaseAddress = 0x38000000;
  MPU_InitStruct.Size = MPU_REGION_SIZE_64KB;

  HAL_MPU_ConfigRegion(&MPU_InitStruct);
  /* Enables the MPU */
  HAL_MPU_Enable(MPU_PRIVILEGED_DEFAULT);

}

void Error_Handler(void)
{
  __disable_irq();
  while (1)
  {
  }
}
